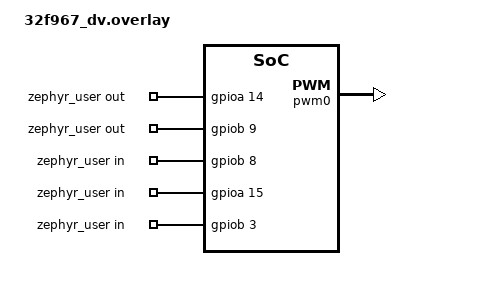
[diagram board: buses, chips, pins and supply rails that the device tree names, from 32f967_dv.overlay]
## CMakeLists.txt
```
# SPDX-FileCopyrightText: 2026 ELAN Microelectronics Corp.
# SPDX-License-Identifier: Apache-2.0

cmake_minimum_required(VERSION 3.20.0)

# Add the parent directory as an extra module for driver access
list(APPEND ZEPHYR_EXTRA_MODULES ${CMAKE_CURRENT_LIST_DIR}/../..)

message(STATUS "Include compat_overlays.cmake!")
include(${ZEPHYR_EXTRA_MODULES}/cmake/compat_overlays.cmake)

find_package(Zephyr REQUIRED HINTS $ENV{ZEPHYR_BASE})
project(elan_hp_gaston)

target_sources(app PRIVATE src/main.c)
```

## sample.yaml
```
sample:
  name: ELAN EM32F967 HP Gaston Merged Example
  description: >
    Merged demo for the EM32F967 32f967_dv board combining three samples:
    PA14 output / PB8+PA15 input with SPI2 loopback, PWMB_N on PA3 with
    high-drive set via DTS, and PB3 input (PU1) / PB9 output (high-drive).
common:
  tags:
    - gpio
    - pinctrl
    - spi
    - pwm
    - elan
    - em32f967
  integration_platforms:
    - 32f967_dv
  harness: console
  harness_config:
    type: multi_line
    regex:
      - "EM32F967 HP Gaston merged sample"
tests:
  sample.elan.hp_gaston:
    depends_on:
      - gpio
      - pinctrl
      - spi
      - pwm
    platform_allow:
      - 32f967_dv
```

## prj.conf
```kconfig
# SPDX-FileCopyrightText: 2026 ELAN Microelectronics Corp.
# SPDX-License-Identifier: Apache-2.0

# GPIO driver (PA14 out, PB8/PA15/PB3 in, PB9 out)
CONFIG_GPIO=y
CONFIG_GPIO_EM32=y

# Pinctrl: SPI2 mux, PA3 high-drive, PB3 PU1 strong pull-up + drive strength
CONFIG_PINCTRL=y
CONFIG_PINCTRL_EM32=y

# SPI2 loopback test
CONFIG_SPI=y

# PWMB_N on PA3
CONFIG_PWM=y

# Console output
CONFIG_CONSOLE=y
CONFIG_UART_CONSOLE=y

# Logging
CONFIG_LOG=y
CONFIG_LOG_DEFAULT_LEVEL=3
CONFIG_LOG_BUFFER_SIZE=8192
```

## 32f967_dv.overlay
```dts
/*
 * SPDX-FileCopyrightText: 2026 ELAN Microelectronics Corp.
 * SPDX-License-Identifier: Apache-2.0
 *
 * EM32F967 HP Gaston merged overlay (32f967_dv).
 *
 * Merges three samples:
 *   1. elan_pa14o_pb8i_pa15i (+ SPI2 loopback PB4-PB7)
 *   2. elan_pwm_pa3_hd (PWMB_N on PA3, high-drive via DTS)
 *   3. elan_pb3i_pb9o (PB3 input PU1, PB9 output high-drive)
 */
#include <zephyr/dt-bindings/pinctrl/em32f967-pinctrl.h>
#include <elan/32f967_dv_priv.dtsi>

&pinctrl {
	/* PB3: GPIO function, strong pull-up (PU1), low drive strength. */
	pb3_gpio_in_pu1: pb3_gpio_in_pu1 {
		pinmux = <EM32F967_PINMUX('B', 3, GPIO)>;
		bias-pull-up;
		bias-pull-up-value = <2>;	/* PU1 strong (~4.7K@3.3V) */
		drive-strength = <0>;		/* low (no effect on an input) */
	};

	/* PB9: GPIO function, high drive strength (output driven by the app). */
	pb9_gpio_out_hd: pb9_gpio_out_hd {
		pinmux = <EM32F967_PINMUX('B', 9, GPIO)>;
		drive-strength = <1>;		/* high */
	};
};

/ {
	zephyr_user: zephyr,user {
		/* PB3/PB9 pull + drive + GPIO muxing. */
		pinctrl-0 = <&pb3_gpio_in_pu1 &pb9_gpio_out_hd>;
		pinctrl-names = "default";

		/* PA14 (idx0) + PB9 (idx1) outputs */
		out-gpios = <&gpioa 14 GPIO_ACTIVE_HIGH>,
			    <&gpiob 9 GPIO_ACTIVE_HIGH>;

		/* PB8 (idx0), PA15 (idx1), PB3 (idx2) inputs */
		in-gpios = <&gpiob 8 GPIO_ACTIVE_HIGH>,
			   <&gpioa 15 GPIO_ACTIVE_HIGH>,
			   <&gpiob 3 GPIO_ACTIVE_HIGH>;
	};
};

/* PA3 (PWMB_N) high-drive via the DTS method. */
&pwmb_pa3_n {
	pinmux = <EM32F967_PINMUX('A', 3, AF7)>;	/* PWMB/PWME Negative */
	drive-strength = <1>;				/* 1 = high drive (PA3) */
};

&pwm0 {
	use-port-a;					/* PA0-PA5 (PWM_S=0) */
	output-type = <1>;				/* N output only */
	pinctrl-0 = <&pwmb_pa3_n>;
	pinctrl-names = "default";
	status = "okay";
};

/* Enable the GPIO controllers used by the sample (disabled by board DTS) */
&gpioa {
	status = "okay";
};

&gpiob {
	status = "okay";
};
```

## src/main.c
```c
/*
 * SPDX-FileCopyrightText: 2026 ELAN Microelectronics Corp.
 * SPDX-License-Identifier: Apache-2.0
 *
 * EM32F967 HP Gaston merged sample (32f967_dv).
 *
 * Merges three samples into one application:
 *   1. elan_pa14o_pb8i_pa15i (+ SPI2 loopback)
 *      - PA14 output toggled 1/0 every second
 *      - PB8 / PA15 inputs, read every second
 *      - SPI2 loopback on PB4-PB7 (wire PB7 MOSI -> PB6 MISO)
 *   2. elan_pwm_pa3_hd
 *      - PWMB_N on PA3, 1kHz, duty ramps 0->100->0; high-drive via DTS
 *   3. elan_pb3i_pb9o
 *      - PB3 input (strong PU1, low drive), PB9 output (LOW, high drive)
 *
 * All pins, the SPI2 node, PWM controller, pull and drive strengths come from
 * the device tree (board DTS + 32f967_dv_priv.dtsi + overlay); no register
 * address is hard-coded in C.
 */

#include <string.h>
#include <zephyr/kernel.h>
#include <zephyr/device.h>
#include <zephyr/drivers/gpio.h>
#include <zephyr/drivers/spi.h>
#include <zephyr/drivers/pwm.h>
#include <zephyr/drivers/pinctrl.h>
#include <zephyr/sys/printk.h>

#define ZEPHYR_USER_NODE DT_PATH(zephyr_user)
#define SPI2_NODE        DT_CHOSEN(zephyr_spi2)
#define PWM_NODE         DT_NODELABEL(pwm0)

/* Fail the build early if spi2 is not enabled in the device tree. */
BUILD_ASSERT(DT_NODE_HAS_STATUS(SPI2_NODE, okay), "spi2 node is not enabled");

/* Pinctrl config (PB3 PU1 + PB9 high-drive + GPIO mux). */
PINCTRL_DT_DEFINE(ZEPHYR_USER_NODE);
static const struct pinctrl_dev_config *pin_cfg =
	PINCTRL_DT_DEV_CONFIG_GET(ZEPHYR_USER_NODE);

/* Outputs: PA14 (idx0, toggled), PB9 (idx1, driven low). */
static const struct gpio_dt_spec out_pa14 =
	GPIO_DT_SPEC_GET_BY_IDX(ZEPHYR_USER_NODE, out_gpios, 0);
static const struct gpio_dt_spec out_pb9 =
	GPIO_DT_SPEC_GET_BY_IDX(ZEPHYR_USER_NODE, out_gpios, 1);

/* Inputs: PB8 (idx0), PA15 (idx1), PB3 (idx2). */
static const struct gpio_dt_spec in_pb8 =
	GPIO_DT_SPEC_GET_BY_IDX(ZEPHYR_USER_NODE, in_gpios, 0);
static const struct gpio_dt_spec in_pa15 =
	GPIO_DT_SPEC_GET_BY_IDX(ZEPHYR_USER_NODE, in_gpios, 1);
static const struct gpio_dt_spec in_pb3 =
	GPIO_DT_SPEC_GET_BY_IDX(ZEPHYR_USER_NODE, in_gpios, 2);

/* SPI2 device + GPIO chip-select (PB4) taken from the device tree. */
static const struct device *const spi2_dev = DEVICE_DT_GET(SPI2_NODE);

static const struct spi_config spi2_cfg = {
	.frequency = 1000000U, /* 1 MHz */
	.operation = SPI_WORD_SET(8) | SPI_TRANSFER_MSB,
	.slave = 0,
	.cs = {
		.gpio = GPIO_DT_SPEC_GET(SPI2_NODE, cs_gpios),
		.delay = 0,
	},
};

/* Initial data sent on MOSI/MISO for the loopback test. */
#define SPI_TEST_BUF_SIZE 8
static const uint8_t spi_tx_buf[SPI_TEST_BUF_SIZE] = {0x55, 0xAA, 0x33, 0xCC,
						     0x0F, 0xF0, 0x5A, 0xA5};
static uint8_t spi_rx_buf[SPI_TEST_BUF_SIZE];

/* PWMB_N on PA3: 1kHz, duty ramps 0% -> 100% -> 0% (high-drive via DTS). */
#define PWM_NODE_DEV    DEVICE_DT_GET(PWM_NODE)
#define PWM_PERIOD_NS   1000000U  /* 1ms period = 1kHz frequency */
#define PWM_STEP_NS     50000U    /* 50us step (5% per second) */
#define PWM_CHANNEL_B   1         /* Channel B (index 1) -> PWMB_N on PA3 */

static const struct device *const pwm_dev = PWM_NODE_DEV;
static uint32_t pwm_pulse_ns;
static bool pwm_increasing = true;

static void describe_spi2_pins(void)
{
	printk("\n=== SPI2 Pins (PB4-PB7) ===\n");
	printk("PB4 (CS): SPI2_CS  PB5 (SCK): SPI2_SCK  "
	       "PB6 (MISO): SPI2_MISO  PB7 (MOSI): SPI2_MOSI\n");
	printk("INFO: For loopback, wire PB7 (MOSI) to PB6 (MISO)\n");
}

static int spi2_loopback_once(void)
{
	const struct spi_buf tx = {.buf = (void *)spi_tx_buf, .len = SPI_TEST_BUF_SIZE};
	const struct spi_buf rx = {.buf = spi_rx_buf, .len = SPI_TEST_BUF_SIZE};
	const struct spi_buf_set tx_set = {.buffers = &tx, .count = 1};
	const struct spi_buf_set rx_set = {.buffers = &rx, .count = 1};
	int ret;

	memset(spi_rx_buf, 0, sizeof(spi_rx_buf));

	ret = spi_transceive(spi2_dev, &spi2_cfg, &tx_set, &rx_set);
	if (ret < 0) {
		printk("SPI2 loopback: transceive error %d\n", ret);
		return ret;
	}

	printk("SPI2 TX:");
	for (int i = 0; i < SPI_TEST_BUF_SIZE; i++) {
		printk(" 0x%02X", spi_tx_buf[i]);
	}
	printk(" | RX:");
	for (int i = 0; i < SPI_TEST_BUF_SIZE; i++) {
		printk(" 0x%02X", spi_rx_buf[i]);
	}

	if (memcmp(spi_tx_buf, spi_rx_buf, SPI_TEST_BUF_SIZE) == 0) {
		printk(" | RESULT: PASS (loopback OK)\n");
		return 0;
	}

	printk(" | RESULT: FAIL (RX != TX)\n");
	return 1;
}

static void pwm_ramp_once(void)
{
	if (pwm_set(pwm_dev, PWM_CHANNEL_B, PWM_PERIOD_NS, pwm_pulse_ns, 0) < 0) {
		printk("PWM: failed to update duty\n");
		return;
	}

	if (pwm_increasing) {
		pwm_pulse_ns += PWM_STEP_NS;
		if (pwm_pulse_ns >= PWM_PERIOD_NS) {
			pwm_pulse_ns = PWM_PERIOD_NS;
			pwm_increasing = false;
		}
	} else {
		if (pwm_pulse_ns >= PWM_STEP_NS) {
			pwm_pulse_ns -= PWM_STEP_NS;
		} else {
			pwm_pulse_ns = 0;
			pwm_increasing = true;
		}
	}
}

int main(void)
{
	int ret;
	int level = 0;

	printk("EM32F967 HP Gaston merged sample\n");
	printk("=========================================================\n");

	/* Verify GPIO controllers, SPI2 and PWM are ready. */
	if (!gpio_is_ready_dt(&out_pa14) || !gpio_is_ready_dt(&out_pb9) ||
	    !gpio_is_ready_dt(&in_pb8) || !gpio_is_ready_dt(&in_pa15) ||
	    !gpio_is_ready_dt(&in_pb3)) {
		printk("Error: a GPIO controller is not ready\n");
		return -ENODEV;
	}

	if (!device_is_ready(spi2_dev)) {
		printk("Error: SPI2 device not ready\n");
		return -ENODEV;
	}

	if (!gpio_is_ready_dt(&spi2_cfg.cs.gpio)) {
		printk("Error: SPI2 CS GPIO (PB4) not ready\n");
		return -ENODEV;
	}

	if (!device_is_ready(pwm_dev)) {
		printk("Error: PWM device not ready\n");
		return -ENODEV;
	}

	/* PA14 output, start low; PB9 output, driven low. */
	ret = gpio_pin_configure_dt(&out_pa14, GPIO_OUTPUT_INACTIVE);
	if (ret < 0) {
		printk("Error %d: failed to configure PA14 as output\n", ret);
		return ret;
	}

	ret = gpio_pin_configure_dt(&out_pb9, GPIO_OUTPUT_INACTIVE);
	if (ret < 0) {
		printk("Error %d: failed to configure PB9 as output\n", ret);
		return ret;
	}

	/* PB8, PA15 and PB3 inputs. */
	ret = gpio_pin_configure_dt(&in_pb8, GPIO_INPUT);
	if (ret < 0) {
		printk("Error %d: failed to configure PB8 as input\n", ret);
		return ret;
	}

	ret = gpio_pin_configure_dt(&in_pa15, GPIO_INPUT);
	if (ret < 0) {
		printk("Error %d: failed to configure PA15 as input\n", ret);
		return ret;
	}

	ret = gpio_pin_configure_dt(&in_pb3, GPIO_INPUT);
	if (ret < 0) {
		printk("Error %d: failed to configure PB3 as input\n", ret);
		return ret;
	}

	/* Apply pull (PB3 PU1) + drive (PB9 high) via pinctrl after GPIO config. */
	ret = pinctrl_apply_state(pin_cfg, PINCTRL_STATE_DEFAULT);
	if (ret < 0) {
		printk("Error %d: failed to apply pinctrl state\n", ret);
		return ret;
	}

	ret = gpio_pin_set_dt(&out_pb9, 0);
	if (ret < 0) {
		printk("Error %d: failed to drive PB9 low\n", ret);
		return ret;
	}

	printk("Setup OK:\n");
	printk("  PA14=%s.%d (out)  PB9=%s.%d (out,low,HD)\n",
	       out_pa14.port->name, out_pa14.pin, out_pb9.port->name, out_pb9.pin);
	printk("  PB8=%s.%d (in)  PA15=%s.%d (in)  PB3=%s.%d (in,PU1)\n",
	       in_pb8.port->name, in_pb8.pin, in_pa15.port->name, in_pa15.pin,
	       in_pb3.port->name, in_pb3.pin);

	describe_spi2_pins();
	printk("SPI2 ready: %s, CS=%s.%d, %u Hz, 8-bit MSB-first\n",
	       spi2_dev->name, spi2_cfg.cs.gpio.port->name, spi2_cfg.cs.gpio.pin,
	       spi2_cfg.frequency);

	/* Start PWMB_N at 50% duty so PA3 shows a clear 1kHz signal, then ramp. */
	pwm_pulse_ns = PWM_PERIOD_NS / 2;
	if (pwm_set(pwm_dev, PWM_CHANNEL_B, PWM_PERIOD_NS, pwm_pulse_ns, 0) < 0) {
		printk("PWM: failed to set initial 50%% duty on PA3\n");
	}
	printk("PWMB_N on PA3 ready: 1kHz, 50%% start, high-drive via DTS\n\n");

	while (1) {
		/* 1) Toggle PA14. */
		level = !level;
		ret = gpio_pin_set_dt(&out_pa14, level);
		if (ret < 0) {
			printk("Error %d: failed to set PA14\n", ret);
			break;
		}

		/* 2) Read inputs. */
		int v_pb8 = gpio_pin_get_dt(&in_pb8);
		int v_pa15 = gpio_pin_get_dt(&in_pa15);
		int v_pb3 = gpio_pin_get_dt(&in_pb3);
		int v_pb9 = gpio_pin_get_dt(&out_pb9);

		printk("PA14(out)=%d | PB8=%d | PA15=%d | PB3(PU1)=%d | PB9(out,low,HD)=%d\n",
		       level, v_pb8, v_pa15, v_pb3, v_pb9);

		/* 3) SPI2 loopback. */
		(void)spi2_loopback_once();

		/* 4) PWMB_N duty ramp on PA3. */
		pwm_ramp_once();

		k_msleep(1000);
	}

	return 0;
}
```
